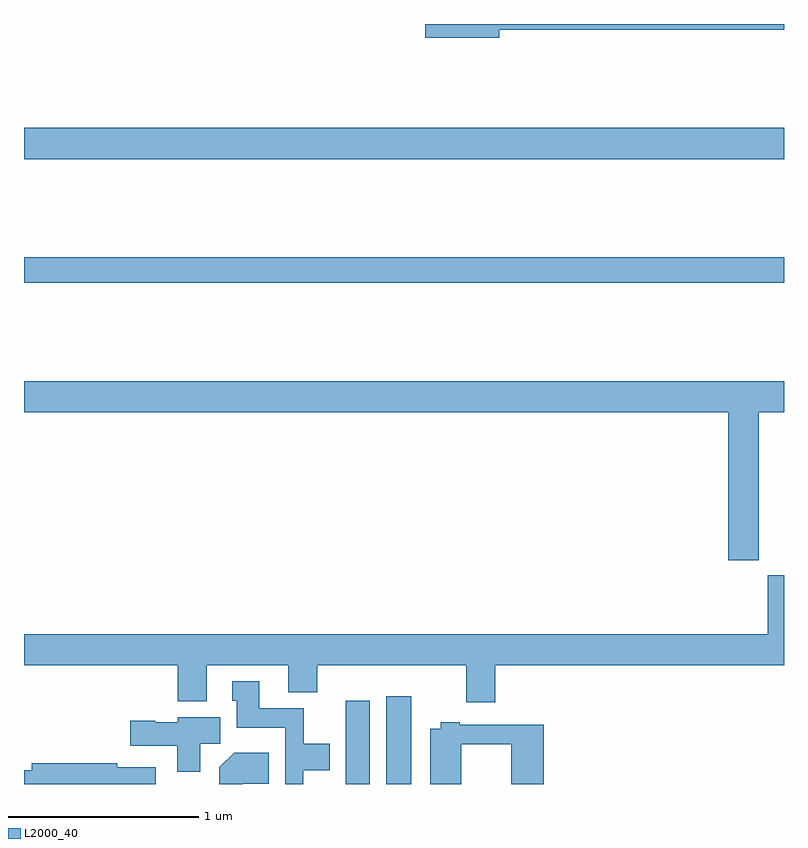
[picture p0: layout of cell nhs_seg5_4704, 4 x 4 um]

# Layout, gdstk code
import gdstk
lib = gdstk.Library(unit=1e-6, precision=1e-09)
def R(c, l, rs):  # rectangles x0, y0, x1, y1
    for r in rs: c.add(gdstk.rectangle(r[:2], r[2:], *l))
def P(c, l, *ps):  # polygons
    for p in ps: c.add(gdstk.Polygon(p, *l))
L2000_40 = (2000, 40)

nhs_seg5_4704 = lib.new_cell('nhs_seg5_4704')
R(nhs_seg5_4704, L2000_40, [(388.694,858.799,388.819,859.237), (388.907,858.799,389.038,859.261), (387,861.436,391,861.572), (387,862.088,391,862.252)])
P(nhs_seg5_4704, L2000_40, [(389.5,862.768),(391,862.768),(391,862.799),(389.112,862.799),(389.112,862.726),(389.5,862.726)],
  [(390.867,860.756),(391,860.756),(391,860.92),(387,860.92),(387,860.756),(390.707,860.756),(390.707,859.977),(390.867,859.977)],
  [(387,859.424),(387.809,859.424),(387.809,859.235),(387.961,859.235),(387.961,859.424),(388.391,859.424),(388.391,859.283),(388.544,859.283),(388.544,859.424),(389.327,859.424),(389.327,859.23),(389.48,859.23),(389.48,859.424),(391,859.424),(391,859.897),(390.914,859.897),(390.914,859.588),(387,859.588)],
  [(388.47,858.872),(388.609,858.872),(388.609,859.012),(388.473,859.012),(388.473,859.198),(388.237,859.198),(388.237,859.339),(388.097,859.339),(388.097,859.236),(388.121,859.236),(388.121,859.094),(388.374,859.094),(388.374,858.799),(388.47,858.799)],
  [(387.928,859.012),(388.033,859.012),(388.033,859.15),(387.81,859.15),(387.81,859.123),(387.69,859.123),(387.69,859.131),(387.558,859.131),(387.558,859.001),(387.806,859.001),(387.806,858.864),(387.928,858.864)],
  [(389.3,859.009),(389.564,859.009),(389.564,858.799),(389.735,858.799),(389.735,859.11),(389.293,859.11),(389.293,859.123),(389.193,859.123),(389.193,859.09),(389.138,859.09),(389.138,858.799),(389.3,858.799)],
  [(388.15,858.8),(388.289,858.8),(388.289,858.964),(388.106,858.964),(388.028,858.886),(388.028,858.799),(388.15,858.799)],
  [(387.693,858.888),(387.49,858.888),(387.49,858.908),(387.041,858.908),(387.041,858.872),(387,858.872),(387,858.799),(387.693,858.799)])

lib.write_gds('nhs_seg5_4704.gds')
